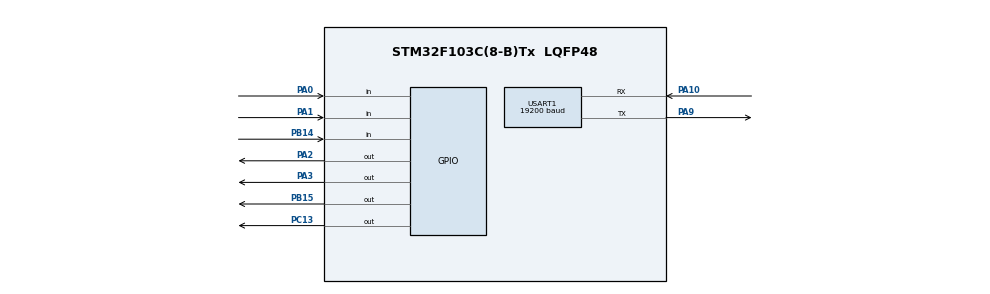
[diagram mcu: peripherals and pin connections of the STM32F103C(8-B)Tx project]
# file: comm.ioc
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Mcu.Family=STM32F1
Mcu.Name=STM32F103C(8-B)Tx
Mcu.Package=LQFP48
NVIC.PriorityGroup=NVIC_PRIORITYGROUP_4
NVIC.USART1_IRQn=true\:0\:0\:false\:false\:true\:true\:true
PA0-WKUP.GPIO_PuPd=GPIO_PULLUP
PA0-WKUP.Signal=GPIO_Input
PA1.GPIO_PuPd=GPIO_PULLUP
PA1.Signal=GPIO_Input
PA10.GPIO_PuPd=GPIO_PULLUP
PA10.Mode=Asynchronous
PA10.Signal=USART1_RX
PA2.Signal=GPIO_Output
PA3.Signal=GPIO_Output
PA9.Mode=Asynchronous
PA9.Signal=USART1_TX
PB14.Signal=GPIO_Input
PB15.Signal=GPIO_Output
PC13-TAMPER-RTC.Signal=GPIO_Output
ProjectManager.HeapSize=0x200
ProjectManager.StackSize=0x400
ProjectManager.TargetToolchain=STM32CubeIDE
RCC.APB1Freq_Value=8000000
RCC.APB2Freq_Value=8000000
USART1.BaudRate=19200
USART1.StopBits=STOPBITS_2
USART1.VirtualMode=VM_ASYNC
VP_SYS_VS_ND.Mode=No_Debug
board=custom

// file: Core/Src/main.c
/* USER CODE BEGIN Header */
/*
 * BC7215 Example Application :
 *  Infrared Data Communication
 *
 * Target platform: STM32F103C8
 *
 * Description:
 *   This application demostrates how to us BC7215 and its library in
 *   the IR wireless communication. The system has 2 buttons and 3 LEDs,
 *   one button for sending data with CRC checksum, and the other send
 *   the same data without CRC.
 *   3 LEDs show the status: working mode, CRC check error, and CRC
 *   check passed.
 *
 * Author: Bitcode
 * Date: 2024-03
 *
 * Version: 1.0
 *
 * Notes:
 *   The bc7215_lib_config.h file is changed according to the requirments
 *   of this application.
 *
 */

/* USER CODE END Header */
#include "main.h"

/* USER CODE BEGIN Includes */
#include "bc7215_lib.h"
/* USER CODE END Includes */

/* USER CODE BEGIN PD */
#define LED1_PIN_PORT GPIOC
#define LED1_PIN_NUM  GPIO_PIN_13
#define LED2_PIN_PORT GPIOA
#define LED2_PIN_NUM  GPIO_PIN_3
#define LED3_PIN_PORT GPIOA
#define LED3_PIN_NUM  GPIO_PIN_2
#define S1_PIN_PORT   GPIOA
#define S1_PIN_NUM    GPIO_PIN_0
#define S2_PIN_PORT   GPIOA
#define S2_PIN_NUM    GPIO_PIN_1
#define MOD_PIN_PORT  GPIOB
#define MOD_PIN_NUM   GPIO_PIN_15
#define BUSY_PIN_PORT GPIOB
#define BUSY_PIN_NUM  GPIO_PIN_14
/* USER CODE END PD */

UART_HandleTypeDef huart1;

/* USER CODE BEGIN PV */
const bc7215FormatPkt_t NECFormat = { { { 0x34 } },
    { 0x14, 0x5D, 0x0D, 0x5D, 0x14, 0x3D, 0x3D, 0x1D, 0x1C, 0x9C, 0x62, 0xA0, 0x29, 0xB2, 0x99, 0x44, 0x00, 0x00, 0xC2,
        0x36, 0x9F, 0xF7, 0xFA, 0xB8, 0xE2, 0x9A, 0xA3, 0x26, 0xEA, 0x90, 0x87, 0x30 } };

const uint8_t BinData[] = { 0, 1, 2, 3, 4, 5, 6, 7, 8, 9, 10, 11, 12, 13, 14, 15, 16, 17, 18, 19, 20 };
const char    TxtData[] = { "Hello World." };

uint8_t BufData[32];
uint8_t crc;

uint8_t  i, Len;
uint8_t  RxByte;
uint8_t  WorkingMode;
uint8_t  KeyValue;
uint8_t  Counter;
uint32_t DownCounter;

/* USER CODE END PV */

void        SystemClock_Config(void);
static void MX_GPIO_Init(void);
static void MX_USART1_UART_Init(void);
/* USER CODE BEGIN PFP */
// functions needed by BC7215 library
void    set_MOD_high(void);                    // function to set MOD pin high
void    set_MOD_low(void);                     // function to set MOD pin low
uint8_t read_MOD(void);                        // function to read MOD pin
uint8_t read_BUSY(void);                       // function to read BUSY pin
void    UART_INT_en(void);                     // function to enable UART RX interrupt
void    UART_INT_dis(void);                    // function to disable UART RX interrupt
void    UART_send_1_byte(uint8_t data);        // function to send 1 byte

// functions to operate I/O
void    NVIC_Config(void);        // Config NVIC
uint8_t Read_Keypad(void);
void    Led1_On(void);
void    Led1_Off(void);
void    Led2_On(void);
void    Led2_Off(void);
void    Led3_On(void);
void    Led3_Off(void);
/* USER CODE END PFP */

int main(void)
{

    /* MCU Configuration--------------------------------------------------------*/

    /* Reset of all peripherals, Initializes the Flash interface and the Systick. */
    HAL_Init();

    /* Configure the system clock */
    SystemClock_Config();

    /* Initialize all configured peripherals */
    MX_GPIO_Init();
    MX_USART1_UART_Init();
    /* USER CODE BEGIN 2 */
    // bc7215 related init
    bc7215_config_uart_int_en_funct(UART_INT_en);
    bc7215_config_uart_int_dis_funct(UART_INT_dis);
    bc7215_config_uart_send_byte(UART_send_1_byte);
    bc7215_config_mod_set_high_funct(set_MOD_high);
    bc7215_config_mod_set_low_funct(set_MOD_low);
    bc7215_config_read_mod_funct(read_MOD);
    bc7215_config_read_busy_funct(read_BUSY);

    Led1_Off();
    Led2_Off();
    Led3_Off();

    NVIC_Config();
    HAL_UART_Receive_IT(&huart1, &RxByte, 1);
    bc7215_set_rx();        // bc7215 set to receiving mode
    HAL_Delay(20);

    /* USER CODE END 2 */

    /* Infinite loop */
    /* USER CODE BEGIN WHILE */
    while (1)
    {
        KeyValue = Read_Keypad();
        switch (KeyValue)
        {
        case 0x01:        // button 1 pressed, send data with CRC
            Led1_On();
            bc7215_set_tx();        // switch BC7215 to TX mode
            HAL_Delay(2);

            // load format in case the internal format information was over written
            // by received IR signal. If we are staying in TX mode, then reload the
            // format information is not necessary.
            bc7215_load_format(&NECFormat);

            // sending binary data
            // User must make sure sizeof(BinData) is not larger than sizeof(BufData)-1
            for (i = 0; i < sizeof(BinData); i++)
            {
                BufData[i] = BinData[i];        // user should make sure BufData is at least 1 byte larger than BinData
            }
            crc = bc7215_crc8(BinData, sizeof(BinData));
            BufData[sizeof(BinData)] = crc;        // add CRC at end
            bc7215_send_raw(BufData, sizeof(BinData) + 1);
            while (!bc7215_cmd_completed())
                ;

            HAL_Delay(100);        // should wait at least 40ms before another transmitting

            // sending text data, no need to load format information again
            // User must make sure sizeof(TxtData) is not larger than sizeof(BufData)-1
            for (i = 0; i < sizeof(TxtData) - 1; i++)
            {
                BufData[i] = TxtData[i];        // user should make sure BufData is at least of same size as TxtData
            }
            crc = bc7215_crc8(
                (uint8_t*)TxtData, sizeof(TxtData) - 1);        // only calculate the text part, not including the '0' at the end.
            BufData[sizeof(TxtData) - 1] = crc;
            bc7215_send_raw(BufData, sizeof(TxtData));
            while (!bc7215_cmd_completed())
                ;

            Led1_Off();
            bc7215_set_rx();        // turn back to receiving mode, waiting for incoming data
            HAL_Delay(20);
            break;
        case 0x02:        // button 2 pressed, send data without CRC
            Led1_On();
            bc7215_set_tx();        // switch BC7215 to TX mode
            HAL_Delay(2);

            // load format in case the internal format information was over written
            // by received IR signal. If we are staying in TX mode, then reload the
            // format information is not necessary.
            bc7215_load_format(&NECFormat);

            // sending binary data
            bc7215_send_raw(BinData, sizeof(BinData));
            while (!bc7215_cmd_completed())
                ;

            HAL_Delay(100);        // should wait at least 40ms before another transmitting

            // sending text data, no need to load format information again
            bc7215_send_raw(TxtData, sizeof(TxtData) - 1);
            while (!bc7215_cmd_completed())
                ;

            Led1_Off();
            bc7215_set_rx();        // turn back to receiving mode, waiting for incoming data
            HAL_Delay(20);
            break;
        default:
            if ((Counter & 0x0f) == 0)        // every 1600ms
            {
                Led1_On();
            }
            else
            {
                Led1_Off();
            }
            break;
        }
        if (bc7215_data_ready())
        {
            Len = (bc7215_get_len() + 7) / 8;        // get data size in byte
            bc7215_get_raw(BufData, Len);            // get all received data

            // *** data received, process the data any way you want here ***

            if (bc7215_crc8(BufData, Len) == 0)        // check if CRC is correct
            {
                Led2_On();
                HAL_Delay(200);
                Led2_Off();
            }
            else        // CRC check failed, flash LED twice
            {
                Led3_On();
                HAL_Delay(200);
                Led3_Off();
            }
        }
        Counter++;
        HAL_Delay(100);
        /* USER CODE END WHILE */

    }
}

void SystemClock_Config(void)
{
    RCC_OscInitTypeDef RCC_OscInitStruct = { 0 };
    RCC_ClkInitTypeDef RCC_ClkInitStruct = { 0 };

    /** Initializes the RCC Oscillators according to the specified parameters
     * in the RCC_OscInitTypeDef structure.
     */
    RCC_OscInitStruct.OscillatorType = RCC_OSCILLATORTYPE_HSI;
    RCC_OscInitStruct.HSIState = RCC_HSI_ON;
    RCC_OscInitStruct.HSICalibrationValue = RCC_HSICALIBRATION_DEFAULT;
    RCC_OscInitStruct.PLL.PLLState = RCC_PLL_NONE;
    if (HAL_RCC_OscConfig(&RCC_OscInitStruct) != HAL_OK)
    {
        Error_Handler();
    }
    /** Initializes the CPU, AHB and APB buses clocks
     */
    RCC_ClkInitStruct.ClockType = RCC_CLOCKTYPE_HCLK | RCC_CLOCKTYPE_SYSCLK | RCC_CLOCKTYPE_PCLK1 | RCC_CLOCKTYPE_PCLK2;
    RCC_ClkInitStruct.SYSCLKSource = RCC_SYSCLKSOURCE_HSI;
    RCC_ClkInitStruct.AHBCLKDivider = RCC_SYSCLK_DIV1;
    RCC_ClkInitStruct.APB1CLKDivider = RCC_HCLK_DIV1;
    RCC_ClkInitStruct.APB2CLKDivider = RCC_HCLK_DIV1;

    if (HAL_RCC_ClockConfig(&RCC_ClkInitStruct, FLASH_LATENCY_0) != HAL_OK)
    {
        Error_Handler();
    }
}

static void MX_USART1_UART_Init(void)
{

    huart1.Instance = USART1;
    huart1.Init.BaudRate = 19200;
    huart1.Init.WordLength = UART_WORDLENGTH_8B;
    huart1.Init.StopBits = UART_STOPBITS_2;
    huart1.Init.Parity = UART_PARITY_NONE;
    huart1.Init.Mode = UART_MODE_TX_RX;
    huart1.Init.HwFlowCtl = UART_HWCONTROL_NONE;
    huart1.Init.OverSampling = UART_OVERSAMPLING_16;
    if (HAL_UART_Init(&huart1) != HAL_OK)
    {
        Error_Handler();
    }
}

static void MX_GPIO_Init(void)
{
    GPIO_InitTypeDef GPIO_InitStruct = { 0 };

    /* GPIO Ports Clock Enable */
    __HAL_RCC_GPIOC_CLK_ENABLE();
    __HAL_RCC_GPIOA_CLK_ENABLE();
    __HAL_RCC_GPIOB_CLK_ENABLE();

    /*Configure GPIO pin Output Level */
    HAL_GPIO_WritePin(GPIOC, GPIO_PIN_13, GPIO_PIN_RESET);

    /*Configure GPIO pin Output Level */
    HAL_GPIO_WritePin(GPIOA, GPIO_PIN_2 | GPIO_PIN_3, GPIO_PIN_RESET);

    /*Configure GPIO pin Output Level */
    HAL_GPIO_WritePin(GPIOB, GPIO_PIN_15, GPIO_PIN_RESET);

    /*Configure GPIO pin : PC13 */
    GPIO_InitStruct.Pin = GPIO_PIN_13;
    GPIO_InitStruct.Mode = GPIO_MODE_OUTPUT_PP;
    GPIO_InitStruct.Pull = GPIO_NOPULL;
    GPIO_InitStruct.Speed = GPIO_SPEED_FREQ_LOW;
    HAL_GPIO_Init(GPIOC, &GPIO_InitStruct);

    /*Configure GPIO pins : PA0 PA1 */
    GPIO_InitStruct.Pin = GPIO_PIN_0 | GPIO_PIN_1;
    GPIO_InitStruct.Mode = GPIO_MODE_INPUT;
    GPIO_InitStruct.Pull = GPIO_PULLUP;
    HAL_GPIO_Init(GPIOA, &GPIO_InitStruct);

    /*Configure GPIO pins : PA2 PA3 */
    GPIO_InitStruct.Pin = GPIO_PIN_2 | GPIO_PIN_3;
    GPIO_InitStruct.Mode = GPIO_MODE_OUTPUT_PP;
    GPIO_InitStruct.Pull = GPIO_NOPULL;
    GPIO_InitStruct.Speed = GPIO_SPEED_FREQ_LOW;
    HAL_GPIO_Init(GPIOA, &GPIO_InitStruct);

    /*Configure GPIO pin : PB14 */
    GPIO_InitStruct.Pin = GPIO_PIN_14;
    GPIO_InitStruct.Mode = GPIO_MODE_INPUT;
    GPIO_InitStruct.Pull = GPIO_NOPULL;
    HAL_GPIO_Init(GPIOB, &GPIO_InitStruct);

    /*Configure GPIO pin : PB15 */
    GPIO_InitStruct.Pin = GPIO_PIN_15;
    GPIO_InitStruct.Mode = GPIO_MODE_OUTPUT_PP;
    GPIO_InitStruct.Pull = GPIO_NOPULL;
    GPIO_InitStruct.Speed = GPIO_SPEED_FREQ_LOW;
    HAL_GPIO_Init(GPIOB, &GPIO_InitStruct);
}

/* USER CODE BEGIN 4 */
void set_MOD_high(void)        // function to set MOD pin high
{
    HAL_GPIO_WritePin(MOD_PIN_PORT, MOD_PIN_NUM, GPIO_PIN_SET);
}

void set_MOD_low(void)        // function to set MOD pin low
{
    HAL_GPIO_WritePin(MOD_PIN_PORT, MOD_PIN_NUM, GPIO_PIN_RESET);        // MOD pin is connected to PA12
}

uint8_t read_MOD(void)        // function to read MOD pin
{
    return HAL_GPIO_ReadPin(MOD_PIN_PORT, MOD_PIN_NUM);        // return status of PA12
}

uint8_t read_BUSY(void)        // function to read BUSY pin
{
    return HAL_GPIO_ReadPin(BUSY_PIN_PORT, BUSY_PIN_NUM);        // MOD pin is connected to PA11
}

void UART_INT_en(void)        // function to enable UART RX interrupt
{
    HAL_NVIC_EnableIRQ(USART1_IRQn);
}

void UART_INT_dis(void)        // function to disable UART RX interrupt
{
    HAL_NVIC_DisableIRQ(USART1_IRQn);
}

void UART_send_1_byte(uint8_t data)        // function to send 1 byte
{
    HAL_UART_Transmit(&huart1, &data, 1, HAL_MAX_DELAY);
}

void NVIC_Config(void)        // Config NVIC
{
    HAL_NVIC_SetPriority(USART1_IRQn, 0, 1);        // Set priority
    HAL_NVIC_EnableIRQ(USART1_IRQn);                // Enable interrupt
}

uint8_t Read_Keypad(void)
{
    uint8_t ButtonMap;
    ButtonMap = GPIOA->IDR & 0x03;
    if (ButtonMap == 0x03)        // if no button is pressed
    {
        return 0;
    }
    else
    {
        while ((GPIOA->IDR & 0x0003) != 0x0003)        // if buttons are not released
        {
            if ((GPIOA->IDR & 0x0003) == 0x0000)
            {
                ButtonMap = 0x00;
            }
        }
        return ButtonMap ^ 0x03;
    }
}

void Led1_On(void)
{
    HAL_GPIO_WritePin(LED1_PIN_PORT, LED1_PIN_NUM, GPIO_PIN_RESET);        // LED on
}

void Led1_Off(void)
{
    HAL_GPIO_WritePin(LED1_PIN_PORT, LED1_PIN_NUM, GPIO_PIN_SET);        // LED off
}

void Led2_On(void)
{
    HAL_GPIO_WritePin(LED2_PIN_PORT, LED2_PIN_NUM, GPIO_PIN_RESET);        // LED on
}

void Led2_Off(void)
{
    HAL_GPIO_WritePin(LED2_PIN_PORT, LED2_PIN_NUM, GPIO_PIN_SET);        // LED off
}

void Led3_On(void)
{
    HAL_GPIO_WritePin(LED3_PIN_PORT, LED3_PIN_NUM, GPIO_PIN_RESET);        // LED on
}

void Led3_Off(void)
{
    HAL_GPIO_WritePin(LED3_PIN_PORT, LED3_PIN_NUM, GPIO_PIN_SET);        // LED off
}

void HAL_UART_RxCpltCallback(UART_HandleTypeDef* huart)        // RXNE interrupt callback
{
    if (huart->Instance == USART1)
    {
        bc7215_process_uart_data(RxByte);
        HAL_UART_Receive_IT(huart, &RxByte, 1);
    }
}

/* USER CODE END 4 */

void Error_Handler(void)
{
    __disable_irq();
    while (1) { }
}
